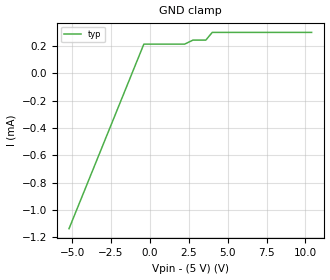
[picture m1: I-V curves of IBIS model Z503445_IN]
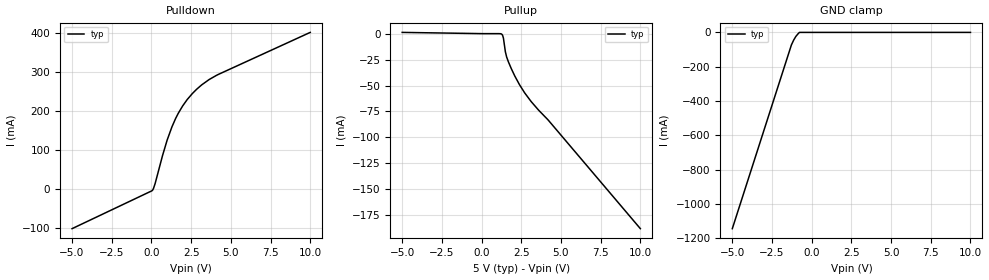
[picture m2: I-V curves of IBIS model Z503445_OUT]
| YOU ARE ONLY AUTHORIZED TO USE THIS SOFTWARE
| ACCORDING TO LICENSOR'S LICENSE RESTRICTIONS.
[IBIS Ver] 3.1
[File Name] mc10h350p.ibs
[File Rev] 1
[Source] Derived from mc10h125p.ibs measured and
|   created by ICX Technology
 [Date] 2/19/2004
[Copyright]
| (C) COPYRIGHT 1993-2000
| MENTOR GRAPHICS CORPORATION
| ICX STANDARD LIBRARY, ICX PROJECT MODELING,
| ICX CUSTOM MODELING, ICX VENDOR MODEL
| ALL RIGHTS RESERVED.
| THE FOLLOWING ARE TRADEMARKS OR SERVICE MARKS OF
| MENTOR GRAPHICS CORPORATION:ICX (R), ICX STANDARD
| LIBRARY(R), ICX PROJECT MODELING(R), ICX CUSTOM
| MODELING(R), qualityIBIS(TM), MODELVIEWER(TM),
| AND MODELEDITOR(TM)
| ALL COPIES OF SOFTWARE, INCLUDING BUT NOT LIMITED TO
| ANY MODIFICATIONS, ENHANCEMENTS OR DERIVATIVE WORKS,
| MUST CONTAIN ALL MENTOR GRAPHICS CORPORATION'S
| NOTICES AND LEGENDS, INCLUDING THOSE EMBEDDED IN
| SOFTWARE AND THOSE AFFIXED TO SOFTWARE MEDIUM
| AND CONTAINER, AS RECEIVED FROM MENTOR GRAPHICS
| CORPORATION.
|  ZAP Model Builder 2.7
[Component] MC10H350P
[Manufacturer] OnSemiconductor
[Package]
| variable   typ   min   max
R_pkg  .212ohms NA NA
L_pkg  4.758nH NA NA
C_pkg  1.143pF NA NA
[Pin] signal_name  model_name  R_pin  L_pin C_pin
1 ECL_VCC POWER .224 7.258n 1.578p
2 AOUT Z503445_OUT .2 2.758n .708p
3 AIN Z503445_IN .216 5.258n 1.288p
4 _AIN Z503445_IN .216 5.258n 1.288p
5 _BIN Z503445_IN .216 5.258n 1.288p
6 BIN Z503445_IN .216 5.258n 1.288p
7 BOUT Z503445_OUT .2 2.758n .708p
8 GND GND .224 7.258n 1.578p
9 _OE Z503445_IN .216 5.258n 1.288p
10 DOUT Z503445_OUT .2 2.758n .708p
11 DIN Z503445_IN .216 5.258n 1.288p
12 _DIN Z503445_IN .216 5.258n 1.288p
13 _CIN Z503445_IN .216 5.258n 1.288p
14 CIN Z503445_IN .216 5.258n 1.288p
15 COUT Z503445_OUT .2 2.758n .708p
16 TTL_VCC POWER .224 7.258n 1.578p
[Diff Pin] inv_pin vdiff tdelay_typ tdelay_min tdelay_max
3 4 350mv NA NA NA
6 5 350mv NA NA NA
11 12 350mv NA NA NA
14 13 350mv NA NA NA
| Models and submodels in the file (2): Z503445_IN (Input_ECL), Z503445_OUT (Output)
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| (C) COPYRIGHT 1993-2000
| MENTOR GRAPHICS CORPORATION
| ICX STANDARD LIBRARY, ICX PROJECT MODELING,
| ICX CUSTOM MODELING, ICX VENDOR MODEL
| ALL RIGHTS RESERVED.
| THE FOLLOWING ARE TRADEMARKS OR SERVICE MARKS OF
| MENTOR GRAPHICS CORPORATION:ICX (R), ICX STANDARD
| LIBRARY(R), ICX PROJECT MODELING(R), ICX CUSTOM
| MODELING(R), qualityIBIS(TM), MODELVIEWER(TM),
| AND MODELEDITOR(TM)
| ALL COPIES OF SOFTWARE, INCLUDING BUT NOT LIMITED TO
| ANY MODIFICATIONS, ENHANCEMENTS OR DERIVATIVE WORKS,
| MUST CONTAIN ALL MENTOR GRAPHICS CORPORATION'S
| NOTICES AND LEGENDS, INCLUDING THOSE EMBEDDED IN
| SOFTWARE AND THOSE AFFIXED TO SOFTWARE MEDIUM
| AND CONTAINER, AS RECEIVED FROM MENTOR GRAPHICS
| CORPORATION.
| Model Application Version 1.89 2/18/99.
[Model] Z503445_IN
Model_type Input_ECL
Vinl = 3.520V
Vinh = 3.870V
C_comp 2.000pF NA NA
| variable typ   min   max
[Voltage Range] 5.00V NA NA
[GND Clamp Reference] 5.00V NA NA
[POWER Clamp Reference] 0.000V NA NA
[GND Clamp]
-5.2V     -1.136mA   NA         NA
-388.5mV  214.8uA    NA         NA
2.233V    214.8uA    NA         NA
2.774V    244.5uA    NA         NA
3.598V    244.5uA    NA         NA
4.01V     300.7uA    NA         NA
10.4V     300.7uA    NA         NA
[POWER Clamp]
-5.2V     0A         NA         NA
10.4V     0A         NA         NA
| (C) COPYRIGHT 1993-2000
| MENTOR GRAPHICS CORPORATION
| ICX STANDARD LIBRARY, ICX PROJECT MODELING,
| ICX CUSTOM MODELING, ICX VENDOR MODEL
| ALL RIGHTS RESERVED.
| THE FOLLOWING ARE TRADEMARKS OR SERVICE MARKS OF
| MENTOR GRAPHICS CORPORATION:ICX (R), ICX STANDARD
| LIBRARY(R), ICX PROJECT MODELING(R), ICX CUSTOM
| MODELING(R), qualityIBIS(TM), MODELVIEWER(TM),
| AND MODELEDITOR(TM)
| ALL COPIES OF SOFTWARE, INCLUDING BUT NOT LIMITED TO
| ANY MODIFICATIONS, ENHANCEMENTS OR DERIVATIVE WORKS,
| MUST CONTAIN ALL MENTOR GRAPHICS CORPORATION'S
| NOTICES AND LEGENDS, INCLUDING THOSE EMBEDDED IN
| SOFTWARE AND THOSE AFFIXED TO SOFTWARE MEDIUM
| AND CONTAINER, AS RECEIVED FROM MENTOR GRAPHICS
| CORPORATION.
| Model Application Version 1.89 2/18/99.
[Model] Z503445_OUT
Model_type Output
Vref=0.000V
Rref=500.0ohms
Cref=50.00pF
Vmeas=1.500V
C_comp 2.000pF NA NA
| variable typ   min   max
[Voltage Range] 5.000V NA NA
[POWER Clamp Reference] 5.000V NA NA
[Pullup Reference] 5.000V NA NA
[Pulldown Reference] 0.000V NA NA
[GND Clamp Reference] 0.000V NA NA
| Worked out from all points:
|   slope of the pulldown table from 0 to 0.75 V, typ, clamps not added: 7.65 ohm
|   slope of the pullup table from 0 to 0.75 V, typ, clamps not added: 35.2 kohm
|   GND clamp passes 1 mA (typ) near -0.78 V on its own axis
[GND Clamp]
-5V       -1.145A    NA         NA
-1.278V   -73.03mA   NA         NA
-1.132V   -44.28mA   NA         NA
-996.1mV  -23.28mA   NA         NA
-838.9mV  -6.003mA   NA         NA
-769mV    0A         NA         NA
10V       0A         NA         NA
[Pulldown]
-5V       -101.7mA   NA         NA
70.84mV   -2.929mA   NA         NA
233.3mV   14.21mA    NA         NA
693.4mV   85.21mA    NA         NA
986.5mV   125.3mA    NA         NA
1.291V    159.6mA    NA         NA
1.525V    181.3mA    NA         NA
1.968V    213.4mA    NA         NA
2.251V    229.6mA    NA         NA
3.164V    267.3mA    NA         NA
4.194V    293.8mA    NA         NA
10V       402mA      NA         NA
[Pullup]
-5V       1.423mA    NA         NA
1.279V    -442.8uA   NA         NA
1.323V    -1.329mA   NA         NA
1.377V    -4.177mA   NA         NA
1.499V    -17.35mA   NA         NA
1.577V    -22.3mA    NA         NA
1.689V    -27.06mA   NA         NA
2.092V    -40.8mA    NA         NA
2.715V    -57.15mA   NA         NA
3.124V    -65.57mA   NA         NA
4.185V    -83.25mA   NA         NA
10V       -188.6mA   NA         NA
[POWER Clamp]
-5V       0A         NA         NA
10V       0A         NA         NA
[Ramp]
| variable typ min max
dV/dt_r 2.093/1.457n NA NA
dV/dt_f 2.093/1.009n NA NA
R_load = 500.0Ohms
